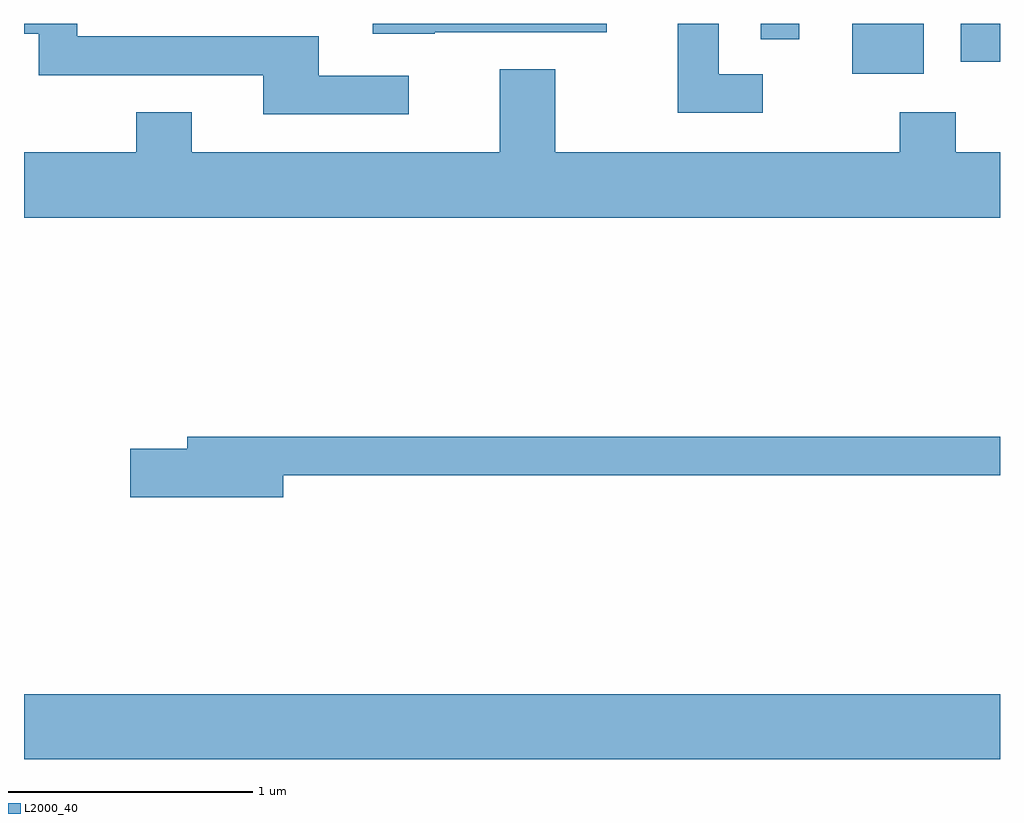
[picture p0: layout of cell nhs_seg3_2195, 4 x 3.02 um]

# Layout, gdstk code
import gdstk
lib = gdstk.Library(unit=1e-6, precision=1e-09)
def R(c, l, rs):  # rectangles x0, y0, x1, y1
    for r in rs: c.add(gdstk.rectangle(r[:2], r[2:], *l))
def P(c, l, *ps):  # polygons
    for p in ps: c.add(gdstk.Polygon(p, *l))
L2000_40 = (2000, 40)

nhs_seg3_2195 = lib.new_cell('nhs_seg3_2195')
R(nhs_seg3_2195, L2000_40, [(249.611,1154.876,253.611,1155.144), (253.006,1157.686,253.299,1157.892), (253.451,1157.736,253.611,1157.892), (252.631,1157.828,252.789,1157.892)])
P(nhs_seg3_2195, L2000_40, [(251.295,1157.856),(251.999,1157.856),(251.999,1157.892),(251.041,1157.892),(251.041,1157.851),(251.295,1157.851)],
  [(252.638,1157.684),(252.459,1157.684),(252.459,1157.892),(252.291,1157.892),(252.291,1157.526),(252.638,1157.526)],
  [(251.188,1157.679),(250.819,1157.679),(250.819,1157.839),(249.829,1157.839),(249.829,1157.892),(249.611,1157.892),(249.611,1157.851),(249.671,1157.851),(249.671,1157.681),(250.591,1157.681),(250.591,1157.521),(251.188,1157.521)],
  [(253.611,1157.364),(253.429,1157.364),(253.429,1157.529),(253.201,1157.529),(253.201,1157.364),(251.789,1157.364),(251.789,1157.704),(251.561,1157.704),(251.561,1157.364),(250.299,1157.364),(250.299,1157.529),(250.071,1157.529),(250.071,1157.364),(249.611,1157.364),(249.611,1157.096),(253.611,1157.096)],
  [(250.674,1156.041),(253.611,1156.041),(253.611,1156.199),(250.281,1156.199),(250.281,1156.149),(250.046,1156.149),(250.046,1155.951),(250.674,1155.951)])

lib.write_gds('nhs_seg3_2195.gds')
